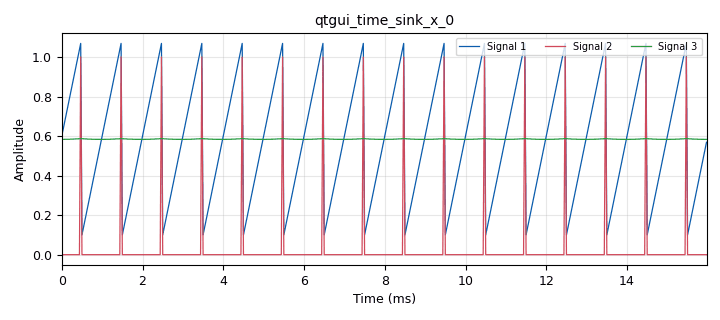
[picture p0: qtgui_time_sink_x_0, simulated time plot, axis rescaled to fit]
options:
  parameters:
    generate_options: qt_gui
    id: PeakDetector
    output_language: python
    title: Peak_detector
  states: {}

blocks:
- name: alpha
  id: variable
  parameters:
    value: '1e-3'
  states: {}
- name: factor
  id: variable
  parameters:
    value: '300e-3'
  states: {}
- name: lookahead
  id: variable
  parameters:
    value: '29'
  states: {}
- name: offset
  id: variable_qtgui_range
  parameters:
    start: '-1.5'
    step: '100e-3'
    stop: '1.5'
    value: '100e-3'
  states: {}
- name: samp_rate
  id: variable
  parameters:
    value: '32000'
  states: {}
- name: analog_sig_source_x_0
  id: analog_sig_source_x
  parameters:
    amp: '1'
    freq: '1000'
    offset: '100e-3'
    phase: '0'
    samp_rate: samp_rate
    type: float
    waveform: analog.GR_SAW_WAVE
  states: {}
- name: blocks_char_to_float_0
  id: blocks_char_to_float
  parameters:
    scale: '1'
  states: {}
- name: blocks_peak_detector2_fb_0
  id: blocks_peak_detector2_fb
  parameters:
    alpha: '1e-3'
    look_ahead: '29'
    threshold_factor_rise: '300e-3'
  states: {}
- name: blocks_throttle2_0
  id: blocks_throttle2
  parameters:
    samples_per_second: samp_rate
    type: float
  states: {}
- name: qtgui_time_sink_x_0
  id: qtgui_time_sink_x
  parameters:
    nconnections: '3'
    size: '512'
    srate: samp_rate
    type: float
  states: {}

connections:
- [analog_sig_source_x_0, '0', blocks_throttle2_0, '0']
- [blocks_char_to_float_0, '0', qtgui_time_sink_x_0, '1']
- [blocks_peak_detector2_fb_0, '0', blocks_char_to_float_0, '0']
- [blocks_peak_detector2_fb_0, '1', qtgui_time_sink_x_0, '2']
- [blocks_throttle2_0, '0', blocks_peak_detector2_fb_0, '0']
- [blocks_throttle2_0, '0', qtgui_time_sink_x_0, '0']

metadata:
  file_format: 1
  grc_version: 3.10.12.0
